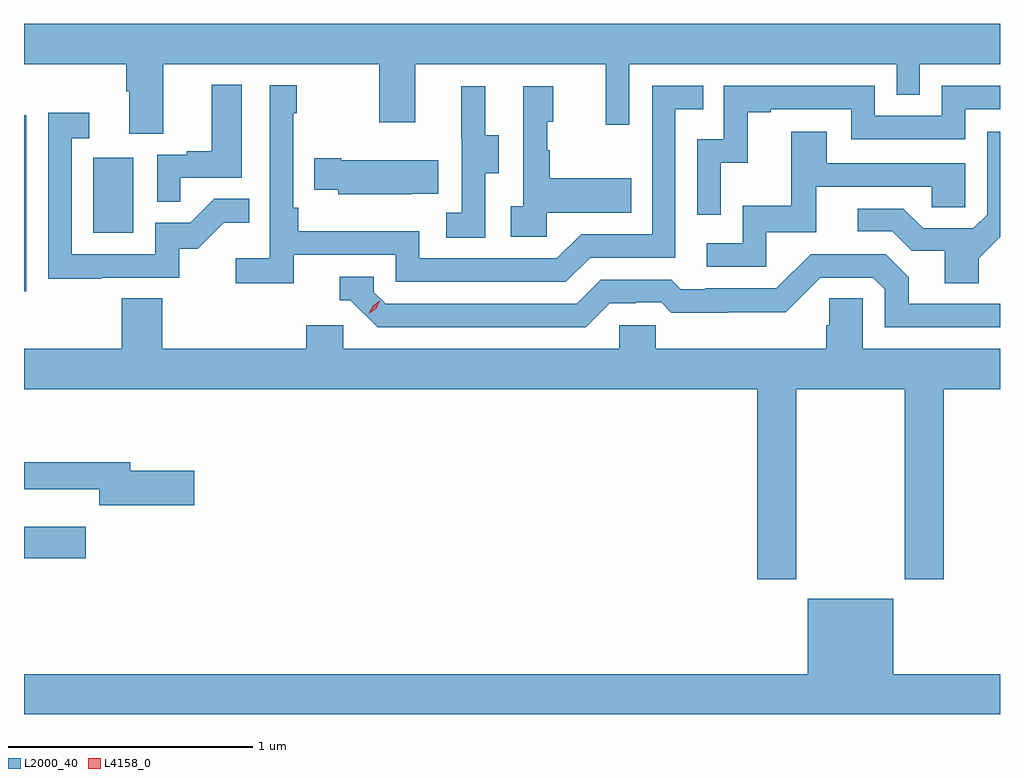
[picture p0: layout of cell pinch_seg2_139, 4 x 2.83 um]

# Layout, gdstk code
import gdstk
lib = gdstk.Library(unit=1e-6, precision=1e-09)
def R(c, l, rs):  # rectangles x0, y0, x1, y1
    for r in rs: c.add(gdstk.rectangle(r[:2], r[2:], *l))
def P(c, l, *ps):  # polygons
    for p in ps: c.add(gdstk.Polygon(p, *l))
L2000_40 = (2000, 40)
L4158_0 = (4158, 0)

pinch_seg2_139 = lib.new_cell('pinch_seg2_139')
R(pinch_seg2_139, L2000_40, [(1106.316,644.278,1106.569,644.407), (1106.316,645.372,1106.326,646.093), (1106.6,645.612,1106.764,645.919)])
P(pinch_seg2_139, L2000_40, [(1106.887,646.304),(1107.772,646.304),(1107.772,646.065),(1107.919,646.065),(1107.919,646.304),(1108.7,646.304),(1108.7,646.056),(1108.797,646.056),(1108.797,646.304),(1109.892,646.304),(1109.892,646.177),(1109.988,646.177),(1109.988,646.304),(1110.316,646.304),(1110.316,646.468),(1106.316,646.468),(1106.316,646.304),(1106.735,646.304),(1106.735,646.192),(1106.747,646.192),(1106.747,646.018),(1106.887,646.018)],
  [(1106.957,645.837),(1107.208,645.837),(1107.208,646.219),(1107.086,646.219),(1107.086,645.946),(1106.983,645.946),(1106.983,645.933),(1106.862,645.933),(1106.862,645.739),(1106.957,645.739)],
  [(1107.422,645.522),(1107.84,645.522),(1107.84,645.411),(1108.537,645.411),(1108.636,645.51),(1108.986,645.51),(1108.986,646.119),(1109.099,646.119),(1109.099,646.215),(1108.89,646.215),(1108.89,645.606),(1108.599,645.606),(1108.5,645.507),(1107.936,645.507),(1107.936,645.619),(1107.44,645.619),(1107.44,645.715),(1107.42,645.715),(1107.42,646.103),(1107.433,646.103),(1107.433,646.216),(1107.324,646.216),(1107.324,645.508),(1107.183,645.508),(1107.183,645.406),(1107.422,645.406)],
  [(1109.172,645.899),(1109.282,645.899),(1109.282,646.107),(1109.377,646.107),(1109.377,646.119),(1109.706,646.119),(1109.706,645.996),(1110.174,645.996),(1110.174,646.119),(1110.316,646.119),(1110.316,646.215),(1110.078,646.215),(1110.078,646.092),(1109.802,646.092),(1109.802,646.215),(1109.184,646.215),(1109.184,645.996),(1109.076,645.996),(1109.076,645.687),(1109.172,645.687)],
  [(1108.206,645.856),(1108.261,645.856),(1108.261,646.011),(1108.207,646.011),(1108.207,646.213),(1108.109,646.213),(1108.109,645.999),(1108.11,645.999),(1108.11,645.695),(1108.047,645.695),(1108.047,645.592),(1108.206,645.592)],
  [(1108.458,645.695),(1108.805,645.695),(1108.805,645.835),(1108.471,645.835),(1108.471,645.95),(1108.461,645.95),(1108.461,646.068),(1108.486,646.068),(1108.486,646.213),(1108.362,646.213),(1108.362,645.722),(1108.311,645.722),(1108.311,645.597),(1108.458,645.597)],
  [(1106.633,645.429),(1106.952,645.429),(1106.952,645.546),(1107.028,645.546),(1107.135,645.653),(1107.239,645.653),(1107.239,645.752),(1107.096,645.752),(1106.998,645.654),(1106.853,645.654),(1106.853,645.525),(1106.511,645.525),(1106.511,645.999),(1106.584,645.999),(1106.584,646.105),(1106.415,646.105),(1106.415,645.424),(1106.633,645.424)],
  [(1110.229,645.508),(1110.316,645.595),(1110.316,646.027),(1110.264,646.027),(1110.264,645.687),(1110.207,645.63),(1110.001,645.63),(1109.92,645.711),(1109.733,645.711),(1109.733,645.618),(1109.874,645.618),(1109.954,645.538),(1110.089,645.538),(1110.089,645.406),(1110.229,645.406)],
  [(1109.358,645.615),(1109.563,645.615),(1109.563,645.801),(1110.037,645.801),(1110.037,645.717),(1110.174,645.717),(1110.174,645.897),(1109.605,645.897),(1109.605,646.027),(1109.461,646.027),(1109.461,645.724),(1109.262,645.724),(1109.262,645.57),(1109.115,645.57),(1109.115,645.474),(1109.358,645.474)],
  [(1107.905,645.773),(1108.013,645.773),(1108.013,645.91),(1107.616,645.91),(1107.616,645.918),(1107.505,645.918),(1107.505,645.788),(1107.603,645.788),(1107.603,645.77),(1107.905,645.77)],
  [(1108.717,645.324),(1108.824,645.324),(1108.824,645.327),(1108.927,645.327),(1108.969,645.285),(1109.202,645.285),(1109.202,645.287),(1109.438,645.287),(1109.58,645.429),(1109.796,645.429),(1109.844,645.381),(1109.844,645.225),(1110.316,645.225),(1110.316,645.321),(1109.941,645.321),(1109.941,645.431),(1109.847,645.525),(1109.541,645.525),(1109.4,645.384),(1109.107,645.384),(1109.107,645.381),(1109.008,645.381),(1108.969,645.42),(1108.68,645.42),(1108.581,645.321),(1107.798,645.321),(1107.75,645.369),(1107.75,645.432),(1107.611,645.432),(1107.611,645.336),(1107.654,645.336),(1107.765,645.225),(1108.618,645.225)],
  [(1109.481,644.972),(1109.926,644.972),(1109.926,644.193),(1110.086,644.193),(1110.086,644.972),(1110.316,644.972),(1110.316,645.136),(1109.754,645.136),(1109.754,645.344),(1109.617,645.344),(1109.617,645.234),(1109.603,645.234),(1109.603,645.136),(1108.905,645.136),(1108.905,645.234),(1108.755,645.234),(1108.755,645.136),(1107.624,645.136),(1107.624,645.234),(1107.473,645.234),(1107.473,645.136),(1106.882,645.136),(1106.882,645.344),(1106.717,645.344),(1106.717,645.136),(1106.316,645.136),(1106.316,644.972),(1109.321,644.972),(1109.321,644.193),(1109.481,644.193)],
  [(1107.013,644.637),(1106.752,644.637),(1106.752,644.671),(1106.316,644.671),(1106.316,644.562),(1106.404,644.562),(1106.404,644.561),(1106.624,644.561),(1106.624,644.495),(1107.013,644.495)],
  [(1110.316,643.804),(1109.878,643.804),(1109.878,644.113),(1109.528,644.113),(1109.528,643.804),(1106.316,643.804),(1106.316,643.64),(1110.316,643.64)])
P(pinch_seg2_139, L4158_0, [(1107.729,645.281),(1107.729,645.281),(1107.745,645.314),(1107.775,645.334),(1107.775,645.334),(1107.775,645.334),(1107.76,645.301),(1107.729,645.281)])

lib.write_gds('pinch_seg2_139.gds')
